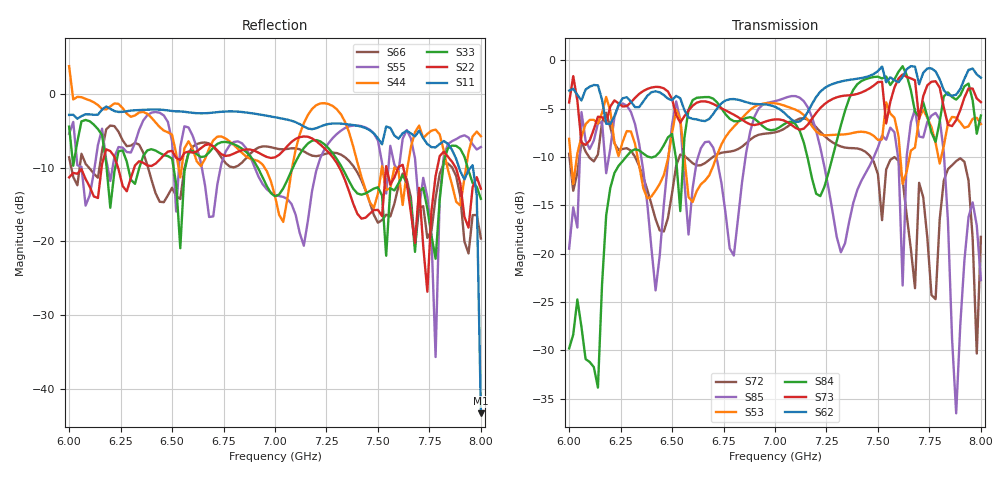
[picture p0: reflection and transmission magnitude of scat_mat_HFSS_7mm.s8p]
! Touchstone file exported from HFSS 2020.1.0
!  File:  D:/Users/rblandin/Documents/Ansoft/scatterer_in_waveguide.aedt
!  Generated:  5:09:30  janv. 16, 2025
!  Design:  HFSSDesign1
!  Project:  scatterer_in_waveguide
!  Setup:  scatmat
!  Solution:  Sweep
! Variables:
!  $height = 7mm
!  $pos_x = 100mm
!  $pos_x_1 = 28.772922mm
!  $pos_x_2 = 55.98679mm
!  $pos_x_3 = 44.27246mm
!  $pos_y = 25mm
!  $pos_y_1 = 43.348048mm
!  $pos_y_2 = 48.8323mm
!  $pos_y_3 = 236.06804mm
!  $radius = 3.1mm
# GHZ S MA R 50.000000
! Terminal data exported
! Port[1] = 1:1
! Port[2] = 1:2
! Port[3] = 1:3
! Port[4] = 1:4
! Port[5] = 2:1
! Port[6] = 2:2
! Port[7] = 2:3
! Port[8] = 2:4
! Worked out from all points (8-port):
!   101 points, 6 GHz to 8 GHz, reference per port
!   strongest paths, dB at 6 GHz, 6.5 GHz, 7 GHz, 7.5 GHz, 8 GHz:
!     S62: -3.1, -4.1, -4.8, -1.1, -1.8
!     S73: -4.4, -4.0, -6.1, -2.3, -4.3
!     S84: -29.8, -7.6, -7.2, -1.7, -5.7
!     S53: -8.1, -7.5, -4.5, -8.2, -6.6
!     S85: -19.5, -6.7, -4.2, -9.0, -22.7
!     S72: -9.7, -13.8, -7.5, -11.8, -18.3
!   lowest |S11| = -43.4 dB at 8 GHz (marker M1), VSWR 1.01
!   |S11| at or under -10 dB: 7.895 GHz to 7.949 GHz (54.26 MHz wide, 0.685 % of centre); 7.961798 GHz to end of sweep
